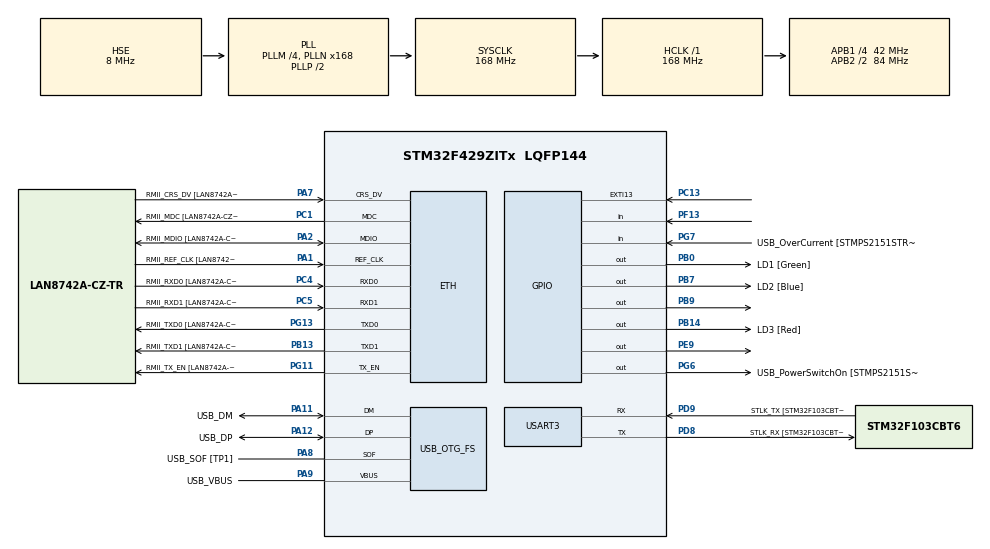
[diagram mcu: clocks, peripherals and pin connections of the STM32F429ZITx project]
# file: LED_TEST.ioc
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ETH.MediaInterface=HAL_ETH_RMII_MODE
ETH.PHY_Name=LAN8742A_PHY_ADDRESS
ETH.PHY_Value=0
ETH.PhyAddress=0
Mcu.Family=STM32F4
Mcu.Name=STM32F429ZITx
Mcu.Package=LQFP144
NVIC.PriorityGroup=NVIC_PRIORITYGROUP_4
PA1.GPIO_Label=RMII_REF_CLK [LAN8742A-CZ-TR_REFCLK0]
PA1.Mode=RMII
PA1.Signal=ETH_REF_CLK
PA10.GPIO_Label=USB_ID
PA10.Signal=USB_OTG_FS_ID
PA11.GPIO_Label=USB_DM
PA11.Mode=Device_Only
PA11.Signal=USB_OTG_FS_DM
PA12.GPIO_Label=USB_DP
PA12.Mode=Device_Only
PA12.Signal=USB_OTG_FS_DP
PA13.GPIO_Label=TMS
PA13.Mode=Serial_Wire
PA13.Signal=SYS_JTMS-SWDIO
PA14.GPIO_Label=TCK
PA14.Mode=Serial_Wire
PA14.Signal=SYS_JTCK-SWCLK
PA2.GPIO_Label=RMII_MDIO [LAN8742A-CZ-TR_MDIO]
PA2.Mode=RMII
PA2.Signal=ETH_MDIO
PA7.GPIO_Label=RMII_CRS_DV [LAN8742A-CZ-TR_CRS_DV]
PA7.Mode=RMII
PA7.Signal=ETH_CRS_DV
PA8.GPIO_Label=USB_SOF [TP1]
PA8.Mode=Activate_SOF_FS
PA8.Signal=USB_OTG_FS_SOF
PA9.GPIO_Label=USB_VBUS
PA9.Mode=Activate_VBUS
PA9.Signal=USB_OTG_FS_VBUS
PB0.GPIO_Label=LD1 [Green]
PB0.Signal=GPIO_Output
PB13.GPIO_Label=RMII_TXD1 [LAN8742A-CZ-TR_TXD1]
PB13.Mode=RMII
PB13.Signal=ETH_TXD1
PB14.GPIO_Label=LD3 [Red]
PB14.Signal=GPIO_Output
PB7.GPIO_Label=LD2 [Blue]
PB7.Signal=GPIO_Output
PB9.Signal=GPIO_Output
PC1.GPIO_Label=RMII_MDC [LAN8742A-CZ-TR_MDC]
PC1.Mode=RMII
PC1.Signal=ETH_MDC
PC13.Signal=GPXTI13
PC14/OSC32_IN.Mode=LSE-External-Oscillator
PC14/OSC32_IN.Signal=RCC_OSC32_IN
PC15/OSC32_OUT.Mode=LSE-External-Oscillator
PC15/OSC32_OUT.Signal=RCC_OSC32_OUT
PC4.GPIO_Label=RMII_RXD0 [LAN8742A-CZ-TR_RXD0]
PC4.Mode=RMII
PC4.Signal=ETH_RXD0
PC5.GPIO_Label=RMII_RXD1 [LAN8742A-CZ-TR_RXD1]
PC5.Mode=RMII
PC5.Signal=ETH_RXD1
PD8.GPIO_Label=STLK_RX [STM32F103CBT6_PA3]
PD8.Mode=Asynchronous
PD8.Signal=USART3_TX
PD9.GPIO_Label=STLK_TX [STM32F103CBT6_PA2]
PD9.Mode=Asynchronous
PD9.Signal=USART3_RX
PE9.Signal=GPIO_Output
PF13.Signal=GPIO_Input
PG11.GPIO_Label=RMII_TX_EN [LAN8742A-CZ-TR_TXEN]
PG11.Mode=RMII
PG11.Signal=ETH_TX_EN
PG13.GPIO_Label=RMII_TXD0 [LAN8742A-CZ-TR_TXD0]
PG13.Mode=RMII
PG13.Signal=ETH_TXD0
PG6.GPIO_Label=USB_PowerSwitchOn [STMPS2151STR_EN]
PG6.Signal=GPIO_Output
PG7.GPIO_Label=USB_OverCurrent [STMPS2151STR_FAULT]
PG7.Signal=GPIO_Input
PH0/OSC_IN.GPIO_Label=MCO [STM32F103CBT6_PA8]
PH0/OSC_IN.Mode=HSE-External-Clock-Source
PH0/OSC_IN.Signal=RCC_OSC_IN
PH1/OSC_OUT.Mode=HSE-External-Clock-Source
PH1/OSC_OUT.Signal=RCC_OSC_OUT
ProjectManager.HeapSize=0x200
ProjectManager.StackSize=0x400
ProjectManager.TargetToolchain=STM32CubeIDE
RCC.48MHZClocksFreq_Value=48000000
RCC.AHBFreq_Value=168000000
RCC.APB1CLKDivider=RCC_HCLK_DIV4
RCC.APB1Freq_Value=42000000
RCC.APB1TimFreq_Value=84000000
RCC.APB2CLKDivider=RCC_HCLK_DIV2
RCC.APB2Freq_Value=84000000
RCC.APB2TimFreq_Value=168000000
RCC.CortexFreq_Value=168000000
RCC.HCLKFreq_Value=168000000
RCC.HSE_VALUE=8000000
RCC.HSI_VALUE=16000000
RCC.PLLM=4
RCC.PLLMUL=RCC_PLL_MUL9
RCC.PLLN=168
RCC.PLLQ=7
RCC.PRESCALERUSB=RCC_USBCLKSOURCE_PLL_DIV1_5
RCC.SYSCLKFreq_VALUE=168000000
RCC.SYSCLKSource=RCC_SYSCLKSOURCE_PLLCLK
RCC.SYSCLKSourceVirtual=RCC_SYSCLKSOURCE_PLLCLK
RCC.USBFreq_Value=48000000
RCC.VCOOutputFreq_Value=336000000
USART3.VirtualMode=VM_ASYNC
USB_OTG_FS.VirtualMode=Device_Only
board=NUCLEO-F429ZI

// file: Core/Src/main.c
/* USER CODE BEGIN Header */
/**
  ******************************************************************************
  * @file           : main.c
  * @brief          : Main program body
  ******************************************************************************
  * @attention
  *
  * Copyright (c) 2023 STMicroelectronics.
  * All rights reserved.
  *
  * This software is licensed under terms that can be found in the LICENSE file
  * in the root directory of this software component.
  * If no LICENSE file comes with this software, it is provided AS-IS.
  *
  ******************************************************************************
  */
/* USER CODE END Header */
#include "main.h"
#include "string.h"

ETH_TxPacketConfig TxConfig;
ETH_DMADescTypeDef  DMARxDscrTab[ETH_RX_DESC_CNT]; /* Ethernet Rx DMA Descriptors */
ETH_DMADescTypeDef  DMATxDscrTab[ETH_TX_DESC_CNT]; /* Ethernet Tx DMA Descriptors */

ETH_HandleTypeDef heth;

UART_HandleTypeDef huart3;

PCD_HandleTypeDef hpcd_USB_OTG_FS;

void SystemClock_Config(void);
static void MX_GPIO_Init(void);
static void MX_ETH_Init(void);
static void MX_USART3_UART_Init(void);
static void MX_USB_OTG_FS_PCD_Init(void);

int main(void)
{

  /* MCU Configuration--------------------------------------------------------*/

  /* Reset of all peripherals, Initializes the Flash interface and the Systick. */
  HAL_Init();

  /* Configure the system clock */
  SystemClock_Config();

  /* USER CODE BEGIN SysInit */

  __HAL_RCC_GPIOE_CLK_ENABLE();
  __HAL_RCC_GPIOF_CLK_ENABLE();
  __HAL_RCC_GPIOB_CLK_ENABLE();
  __HAL_RCC_GPIOC_CLK_ENABLE();

  GPIO_InitTypeDef GPIO_InitStruct;

  GPIO_InitStruct.Pin = GPIO_PIN_9 |GPIO_PIN_11|GPIO_PIN_13;
  GPIO_InitStruct.Mode = GPIO_MODE_OUTPUT_PP;
  GPIO_InitStruct.Pull = GPIO_NOPULL;
  GPIO_InitStruct.Speed = GPIO_SPEED_FREQ_LOW;
  HAL_GPIO_Init(GPIOE, &GPIO_InitStruct);

  GPIO_InitStruct.Pin = GPIO_PIN_14 |GPIO_PIN_15 | GPIO_PIN_4;
  GPIO_InitStruct.Mode = GPIO_MODE_OUTPUT_PP;
  GPIO_InitStruct.Pull = GPIO_NOPULL;
  GPIO_InitStruct.Speed = GPIO_SPEED_FREQ_LOW;
  HAL_GPIO_Init(GPIOF, &GPIO_InitStruct);

  GPIO_InitStruct.Pin = GPIO_PIN_1|GPIO_PIN_6;
  GPIO_InitStruct.Mode = GPIO_MODE_OUTPUT_PP;
  GPIO_InitStruct.Pull = GPIO_NOPULL;
  GPIO_InitStruct.Speed = GPIO_SPEED_FREQ_LOW;
  HAL_GPIO_Init(GPIOB, &GPIO_InitStruct);

  GPIO_InitStruct.Pin = GPIO_PIN_2;
  GPIO_InitStruct.Mode = GPIO_MODE_OUTPUT_PP;
  GPIO_InitStruct.Pull = GPIO_NOPULL;
  GPIO_InitStruct.Speed = GPIO_SPEED_FREQ_LOW;
  HAL_GPIO_Init(GPIOC, &GPIO_InitStruct);

  GPIO_InitStruct.Pin = GPIO_PIN_13;
  GPIO_InitStruct.Mode = GPIO_MODE_INPUT;
  GPIO_InitStruct.Pull = GPIO_NOPULL;
  GPIO_InitStruct.Speed = GPIO_SPEED_FREQ_LOW;
  HAL_GPIO_Init(GPIOF, &GPIO_InitStruct);

  GPIO_InitStruct.Pin = GPIO_PIN_13;
    GPIO_InitStruct.Mode = GPIO_MODE_INPUT;
    GPIO_InitStruct.Pull = GPIO_NOPULL;
    GPIO_InitStruct.Speed = GPIO_SPEED_FREQ_LOW;
    HAL_GPIO_Init(GPIOC, &GPIO_InitStruct);

  /* USER CODE END SysInit */

  /* Initialize all configured peripherals */
  MX_GPIO_Init();
  MX_ETH_Init();
  MX_USART3_UART_Init();
  MX_USB_OTG_FS_PCD_Init();

  /* Infinite loop */
  /* USER CODE BEGIN WHILE */
  uint8_t count = 0;

  while (1)
  {
	  {
    /* USER CODE END WHILE */

  }
}

void SystemClock_Config(void)
{
  RCC_OscInitTypeDef RCC_OscInitStruct = {0};
  RCC_ClkInitTypeDef RCC_ClkInitStruct = {0};

  /** Configure the main internal regulator output voltage
  */
  __HAL_RCC_PWR_CLK_ENABLE();
  __HAL_PWR_VOLTAGESCALING_CONFIG(PWR_REGULATOR_VOLTAGE_SCALE1);

  /** Initializes the RCC Oscillators according to the specified parameters
  * in the RCC_OscInitTypeDef structure.
  */
  RCC_OscInitStruct.OscillatorType = RCC_OSCILLATORTYPE_HSE;
  RCC_OscInitStruct.HSEState = RCC_HSE_BYPASS;
  RCC_OscInitStruct.PLL.PLLState = RCC_PLL_ON;
  RCC_OscInitStruct.PLL.PLLSource = RCC_PLLSOURCE_HSE;
  RCC_OscInitStruct.PLL.PLLM = 4;
  RCC_OscInitStruct.PLL.PLLN = 168;
  RCC_OscInitStruct.PLL.PLLP = RCC_PLLP_DIV2;
  RCC_OscInitStruct.PLL.PLLQ = 7;
  if (HAL_RCC_OscConfig(&RCC_OscInitStruct) != HAL_OK)
  {
    Error_Handler();
  }

  /** Initializes the CPU, AHB and APB buses clocks
  */
  RCC_ClkInitStruct.ClockType = RCC_CLOCKTYPE_HCLK|RCC_CLOCKTYPE_SYSCLK
                              |RCC_CLOCKTYPE_PCLK1|RCC_CLOCKTYPE_PCLK2;
  RCC_ClkInitStruct.SYSCLKSource = RCC_SYSCLKSOURCE_PLLCLK;
  RCC_ClkInitStruct.AHBCLKDivider = RCC_SYSCLK_DIV1;
  RCC_ClkInitStruct.APB1CLKDivider = RCC_HCLK_DIV4;
  RCC_ClkInitStruct.APB2CLKDivider = RCC_HCLK_DIV2;

  if (HAL_RCC_ClockConfig(&RCC_ClkInitStruct, FLASH_LATENCY_5) != HAL_OK)
  {
    Error_Handler();
  }
}

static void MX_ETH_Init(void)
{

   static uint8_t MACAddr[6];

  heth.Instance = ETH;
  MACAddr[0] = 0x00;
  MACAddr[1] = 0x80;
  MACAddr[2] = 0xE1;
  MACAddr[3] = 0x00;
  MACAddr[4] = 0x00;
  MACAddr[5] = 0x00;
  heth.Init.MACAddr = &MACAddr[0];
  heth.Init.MediaInterface = HAL_ETH_RMII_MODE;
  heth.Init.TxDesc = DMATxDscrTab;
  heth.Init.RxDesc = DMARxDscrTab;
  heth.Init.RxBuffLen = 1524;

  if (HAL_ETH_Init(&heth) != HAL_OK)
  {
    Error_Handler();
  }

  memset(&TxConfig, 0 , sizeof(ETH_TxPacketConfig));
  TxConfig.Attributes = ETH_TX_PACKETS_FEATURES_CSUM | ETH_TX_PACKETS_FEATURES_CRCPAD;
  TxConfig.ChecksumCtrl = ETH_CHECKSUM_IPHDR_PAYLOAD_INSERT_PHDR_CALC;
  TxConfig.CRCPadCtrl = ETH_CRC_PAD_INSERT;

}

static void MX_USART3_UART_Init(void)
{

  huart3.Instance = USART3;
  huart3.Init.BaudRate = 115200;
  huart3.Init.WordLength = UART_WORDLENGTH_8B;
  huart3.Init.StopBits = UART_STOPBITS_1;
  huart3.Init.Parity = UART_PARITY_NONE;
  huart3.Init.Mode = UART_MODE_TX_RX;
  huart3.Init.HwFlowCtl = UART_HWCONTROL_NONE;
  huart3.Init.OverSampling = UART_OVERSAMPLING_16;
  if (HAL_UART_Init(&huart3) != HAL_OK)
  {
    Error_Handler();
  }

}

static void MX_USB_OTG_FS_PCD_Init(void)
{

  hpcd_USB_OTG_FS.Instance = USB_OTG_FS;
  hpcd_USB_OTG_FS.Init.dev_endpoints = 4;
  hpcd_USB_OTG_FS.Init.speed = PCD_SPEED_FULL;
  hpcd_USB_OTG_FS.Init.dma_enable = DISABLE;
  hpcd_USB_OTG_FS.Init.phy_itface = PCD_PHY_EMBEDDED;
  hpcd_USB_OTG_FS.Init.Sof_enable = ENABLE;
  hpcd_USB_OTG_FS.Init.low_power_enable = DISABLE;
  hpcd_USB_OTG_FS.Init.lpm_enable = DISABLE;
  hpcd_USB_OTG_FS.Init.vbus_sensing_enable = ENABLE;
  hpcd_USB_OTG_FS.Init.use_dedicated_ep1 = DISABLE;
  if (HAL_PCD_Init(&hpcd_USB_OTG_FS) != HAL_OK)
  {
    Error_Handler();
  }

}

static void MX_GPIO_Init(void)
{
  GPIO_InitTypeDef GPIO_InitStruct = {0};

  /* GPIO Ports Clock Enable */
  __HAL_RCC_GPIOC_CLK_ENABLE();
  __HAL_RCC_GPIOH_CLK_ENABLE();
  __HAL_RCC_GPIOA_CLK_ENABLE();
  __HAL_RCC_GPIOB_CLK_ENABLE();
  __HAL_RCC_GPIOF_CLK_ENABLE();
  __HAL_RCC_GPIOE_CLK_ENABLE();
  __HAL_RCC_GPIOD_CLK_ENABLE();
  __HAL_RCC_GPIOG_CLK_ENABLE();

  /*Configure GPIO pin Output Level */
  HAL_GPIO_WritePin(GPIOB, LD1_Pin|LD3_Pin|LD2_Pin|GPIO_PIN_9, GPIO_PIN_RESET);

  /*Configure GPIO pin Output Level */
  HAL_GPIO_WritePin(GPIOE, GPIO_PIN_9, GPIO_PIN_RESET);

  /*Configure GPIO pin Output Level */
  HAL_GPIO_WritePin(USB_PowerSwitchOn_GPIO_Port, USB_PowerSwitchOn_Pin, GPIO_PIN_RESET);

  /*Configure GPIO pin : PC13 */
  GPIO_InitStruct.Pin = GPIO_PIN_13;
  GPIO_InitStruct.Mode = GPIO_MODE_IT_RISING;
  GPIO_InitStruct.Pull = GPIO_NOPULL;
  HAL_GPIO_Init(GPIOC, &GPIO_InitStruct);

  /*Configure GPIO pins : LD1_Pin LD3_Pin LD2_Pin PB9 */
  GPIO_InitStruct.Pin = LD1_Pin|LD3_Pin|LD2_Pin|GPIO_PIN_9;
  GPIO_InitStruct.Mode = GPIO_MODE_OUTPUT_PP;
  GPIO_InitStruct.Pull = GPIO_NOPULL;
  GPIO_InitStruct.Speed = GPIO_SPEED_FREQ_LOW;
  HAL_GPIO_Init(GPIOB, &GPIO_InitStruct);

  /*Configure GPIO pin : PF13 */
  GPIO_InitStruct.Pin = GPIO_PIN_13;
  GPIO_InitStruct.Mode = GPIO_MODE_INPUT;
  GPIO_InitStruct.Pull = GPIO_NOPULL;
  HAL_GPIO_Init(GPIOF, &GPIO_InitStruct);

  /*Configure GPIO pin : PE9 */
  GPIO_InitStruct.Pin = GPIO_PIN_9;
  GPIO_InitStruct.Mode = GPIO_MODE_OUTPUT_PP;
  GPIO_InitStruct.Pull = GPIO_NOPULL;
  GPIO_InitStruct.Speed = GPIO_SPEED_FREQ_LOW;
  HAL_GPIO_Init(GPIOE, &GPIO_InitStruct);

  /*Configure GPIO pin : USB_PowerSwitchOn_Pin */
  GPIO_InitStruct.Pin = USB_PowerSwitchOn_Pin;
  GPIO_InitStruct.Mode = GPIO_MODE_OUTPUT_PP;
  GPIO_InitStruct.Pull = GPIO_NOPULL;
  GPIO_InitStruct.Speed = GPIO_SPEED_FREQ_LOW;
  HAL_GPIO_Init(USB_PowerSwitchOn_GPIO_Port, &GPIO_InitStruct);

  /*Configure GPIO pin : USB_OverCurrent_Pin */
  GPIO_InitStruct.Pin = USB_OverCurrent_Pin;
  GPIO_InitStruct.Mode = GPIO_MODE_INPUT;
  GPIO_InitStruct.Pull = GPIO_NOPULL;
  HAL_GPIO_Init(USB_OverCurrent_GPIO_Port, &GPIO_InitStruct);

}

void Error_Handler(void)
{
  __disable_irq();
  while (1)
  {
  }
}
